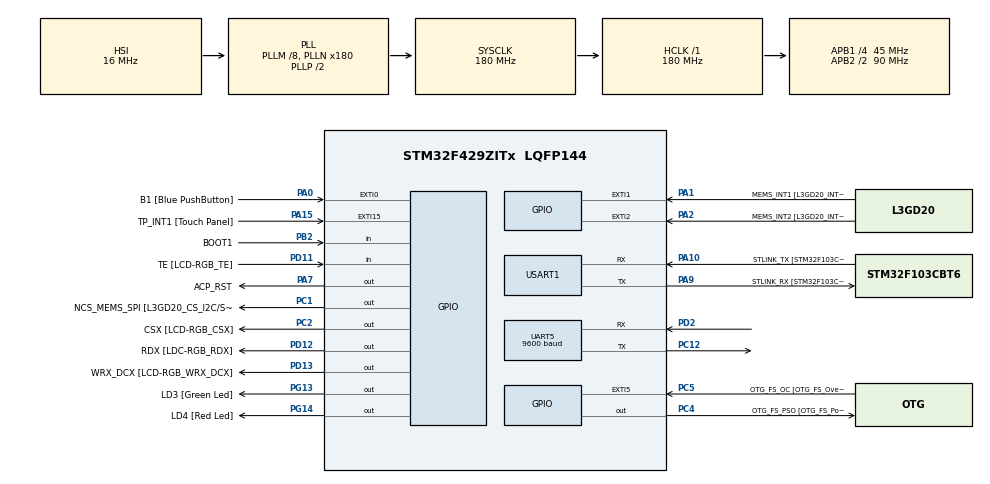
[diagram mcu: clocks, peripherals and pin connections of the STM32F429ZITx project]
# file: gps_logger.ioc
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Dma.Request0=UART5_RX
Dma.UART5_RX.0.Direction=DMA_PERIPH_TO_MEMORY
Dma.UART5_RX.0.FIFOMode=DMA_FIFOMODE_DISABLE
Dma.UART5_RX.0.Instance=DMA1_Stream0
Dma.UART5_RX.0.MemDataAlignment=DMA_MDATAALIGN_BYTE
Dma.UART5_RX.0.MemInc=DMA_MINC_ENABLE
Dma.UART5_RX.0.Mode=DMA_CIRCULAR
Dma.UART5_RX.0.PeriphDataAlignment=DMA_PDATAALIGN_BYTE
Dma.UART5_RX.0.PeriphInc=DMA_PINC_DISABLE
Dma.UART5_RX.0.Priority=DMA_PRIORITY_LOW
FREERTOS.BinarySemaphores01=gpsSemaphore,Dynamic,NULL,Depleted
FREERTOS.Queues01=gpsQueue,5,28,1,Dynamic,NULL,NULL
FREERTOS.Tasks01=gpsTask,24,256,StartGpsTask,Default,NULL,Dynamic,NULL,NULL;loggerTask,24,256,StartLoggerTask,Default,NULL,Dynamic,NULL,NULL;lcdTask,24,256,StartLcdTask,Default,NULL,Dynamic,NULL,NULL
FREERTOS.configUSE_NEWLIB_REENTRANT=1
Mcu.Family=STM32F4
Mcu.Name=STM32F429ZITx
Mcu.Package=LQFP144
NVIC.DMA1_Stream0_IRQn=true\:5\:0\:false\:false\:true\:true\:false\:true\:true
NVIC.PriorityGroup=NVIC_PRIORITYGROUP_4
NVIC.TIM1_UP_TIM10_IRQn=true\:15\:0\:false\:false\:true\:false\:false\:true\:true
NVIC.TimeBase=TIM1_UP_TIM10_IRQn
NVIC.TimeBaseIP=TIM1
NVIC.UART5_IRQn=true\:5\:0\:false\:false\:true\:true\:true\:true\:true
PA0/WKUP.GPIO_Label=B1 [Blue PushButton]
PA0/WKUP.GPIO_ModeDefaultEXTI=GPIO_MODE_EVT_RISING
PA0/WKUP.GPIO_PuPd=GPIO_NOPULL
PA0/WKUP.Signal=GPXTI0
PA1.GPIO_Label=MEMS_INT1 [L3GD20_INT1]
PA1.GPIO_ModeDefaultEXTI=GPIO_MODE_EVT_RISING
PA1.GPIO_PuPd=GPIO_NOPULL
PA1.Signal=GPXTI1
PA10.GPIO_Label=STLINK_TX [STM32F103CBT6_PA2]
PA10.Mode=Asynchronous
PA10.Signal=USART1_RX
PA11.GPIO_Label=R4
PA11.GPIO_Mode=GPIO_MODE_AF_PP
PA11.GPIO_PuPd=GPIO_NOPULL
PA11.GPIO_Speed=GPIO_SPEED_FREQ_LOW
PA11.Signal=LTDC_R4
PA12.GPIO_Label=R5
PA12.GPIO_Mode=GPIO_MODE_AF_PP
PA12.GPIO_PuPd=GPIO_NOPULL
PA12.GPIO_Speed=GPIO_SPEED_FREQ_LOW
PA12.Signal=LTDC_R5
PA13.GPIO_Label=SWDIO
PA13.Signal=SYS_JTMS-SWDIO
PA14.GPIO_Label=SWCLK
PA14.Signal=SYS_JTCK-SWCLK
PA15.GPIO_Label=TP_INT1 [Touch Panel]
PA15.GPIO_ModeDefaultEXTI=GPIO_MODE_EVT_RISING
PA15.GPIO_PuPd=GPIO_NOPULL
PA15.Signal=GPXTI15
PA2.GPIO_Label=MEMS_INT2 [L3GD20_INT2]
PA2.GPIO_ModeDefaultEXTI=GPIO_MODE_EVT_RISING
PA2.GPIO_PuPd=GPIO_NOPULL
PA2.Signal=GPXTI2
PA3.GPIO_Label=B5
PA3.GPIO_Mode=GPIO_MODE_AF_PP
PA3.GPIO_PuPd=GPIO_NOPULL
PA3.GPIO_Speed=GPIO_SPEED_FREQ_LOW
PA3.Signal=LTDC_B5
PA4.GPIO_Label=VSYNC
PA4.GPIO_Mode=GPIO_MODE_AF_PP
PA4.GPIO_PuPd=GPIO_NOPULL
PA4.GPIO_Speed=GPIO_SPEED_FREQ_LOW
PA4.Signal=LTDC_VSYNC
PA6.GPIO_Label=G2
PA6.GPIO_Mode=GPIO_MODE_AF_PP
PA6.GPIO_PuPd=GPIO_NOPULL
PA6.GPIO_Speed=GPIO_SPEED_FREQ_LOW
PA6.Signal=LTDC_G2
PA7.GPIO_Label=ACP_RST
PA7.GPIO_Mode=GPIO_MODE_OUTPUT_PP
PA7.GPIO_PuPd=GPIO_NOPULL
PA7.GPIO_Speed=GPIO_SPEED_FREQ_LOW
PA7.Signal=GPIO_Output
PA8.GPIO_Label=I2C3_SCL [ACP/RF_SCL]
PA8.GPIO_Mode=GPIO_MODE_AF_OD
PA8.GPIO_PuPd=GPIO_NOPULL
PA8.GPIO_Speed=GPIO_SPEED_FREQ_LOW
PA8.Signal=I2C3_SCL
PA9.GPIO_Label=STLINK_RX [STM32F103CBT6_PA3]
PA9.Mode=Asynchronous
PA9.Signal=USART1_TX
PB0.GPIO_Label=R3
PB0.GPIO_Mode=GPIO_MODE_AF_PP
PB0.GPIO_PuPd=GPIO_NOPULL
PB0.GPIO_Speed=GPIO_SPEED_FREQ_LOW
PB0.Signal=LTDC_R3
PB1.GPIO_Label=R6
PB1.GPIO_Mode=GPIO_MODE_AF_PP
PB1.GPIO_PuPd=GPIO_NOPULL
PB1.GPIO_Speed=GPIO_SPEED_FREQ_LOW
PB1.Signal=LTDC_R6
PB10.GPIO_Label=G4
PB10.GPIO_Mode=GPIO_MODE_AF_PP
PB10.GPIO_PuPd=GPIO_NOPULL
PB10.GPIO_Speed=GPIO_SPEED_FREQ_LOW
PB10.Signal=LTDC_G4
PB11.GPIO_Label=G5
PB11.GPIO_Mode=GPIO_MODE_AF_PP
PB11.GPIO_PuPd=GPIO_NOPULL
PB11.GPIO_Speed=GPIO_SPEED_FREQ_LOW
PB11.Signal=LTDC_G5
PB12.GPIO_Label=OTG_HS_ID
PB12.GPIO_Mode=GPIO_MODE_AF_PP
PB12.GPIO_PuPd=GPIO_NOPULL
PB12.GPIO_Speed=GPIO_SPEED_FREQ_LOW
PB12.Signal=USB_OTG_HS_ID
PB13.GPIO_Label=VBUS_HS
PB13.GPIO_Mode=GPIO_MODE_INPUT
PB13.GPIO_PuPd=GPIO_NOPULL
PB13.Signal=USB_OTG_HS_VBUS
PB14.GPIO_Label=OTG_HS_DM
PB14.GPIO_Mode=GPIO_MODE_AF_PP
PB14.GPIO_PuPd=GPIO_NOPULL
PB14.GPIO_Speed=GPIO_SPEED_FREQ_LOW
PB14.Signal=USB_OTG_HS_DM
PB15.GPIO_Label=OTG_HS_DP
PB15.GPIO_Mode=GPIO_MODE_AF_PP
PB15.GPIO_PuPd=GPIO_NOPULL
PB15.GPIO_Speed=GPIO_SPEED_FREQ_LOW
PB15.Signal=USB_OTG_HS_DP
PB2/BOOT1.GPIO_Label=BOOT1
PB2/BOOT1.GPIO_Mode=GPIO_MODE_INPUT
PB2/BOOT1.GPIO_PuPd=GPIO_NOPULL
PB2/BOOT1.Signal=GPIO_Input
PB5.GPIO_Label=SDCKE1
PB5.GPIO_Mode=GPIO_MODE_AF_PP
PB5.GPIO_PuPd=GPIO_NOPULL
PB5.GPIO_Speed=GPIO_SPEED_FREQ_VERY_HIGH
PB5.Signal=FMC_SDCKE1
PB6.GPIO_Label=SDNE1 [SDRAM_CS]
PB6.GPIO_Mode=GPIO_MODE_AF_PP
PB6.GPIO_PuPd=GPIO_NOPULL
PB6.GPIO_Speed=GPIO_SPEED_FREQ_VERY_HIGH
PB6.Signal=FMC_SDNE1
PB8.GPIO_Label=B6
PB8.GPIO_Mode=GPIO_MODE_AF_PP
PB8.GPIO_PuPd=GPIO_NOPULL
PB8.GPIO_Speed=GPIO_SPEED_FREQ_LOW
PB8.Signal=LTDC_B6
PB9.GPIO_Label=B7
PB9.GPIO_Mode=GPIO_MODE_AF_PP
PB9.GPIO_PuPd=GPIO_NOPULL
PB9.GPIO_Speed=GPIO_SPEED_FREQ_LOW
PB9.Signal=LTDC_B7
PC0.GPIO_Label=SDNWE
PC0.GPIO_Mode=GPIO_MODE_AF_PP
PC0.GPIO_PuPd=GPIO_NOPULL
PC0.GPIO_Speed=GPIO_SPEED_FREQ_VERY_HIGH
PC0.Signal=FMC_SDNWE
PC1.GPIO_Label=NCS_MEMS_SPI [L3GD20_CS_I2C/SPI]
PC1.GPIO_Mode=GPIO_MODE_OUTPUT_PP
PC1.GPIO_PuPd=GPIO_NOPULL
PC1.GPIO_Speed=GPIO_SPEED_FREQ_LOW
PC1.Signal=GPIO_Output
PC10.GPIO_Label=R2
PC10.GPIO_Mode=GPIO_MODE_AF_PP
PC10.GPIO_PuPd=GPIO_NOPULL
PC10.GPIO_Speed=GPIO_SPEED_FREQ_LOW
PC10.Signal=LTDC_R2
PC12.Mode=Asynchronous
PC12.Signal=UART5_TX
PC14/OSC32_IN.GPIO_Label=PC14-OSC32_IN
PC14/OSC32_IN.Signal=RCC_OSC32_IN
PC15/OSC32_OUT.GPIO_Label=PC15-OSC32_OUT
PC15/OSC32_OUT.Signal=RCC_OSC32_OUT
PC2.GPIO_Label=CSX [LCD-RGB_CSX]
PC2.GPIO_Mode=GPIO_MODE_OUTPUT_PP
PC2.GPIO_PuPd=GPIO_NOPULL
PC2.GPIO_Speed=GPIO_SPEED_FREQ_LOW
PC2.Signal=GPIO_Output
PC4.GPIO_Label=OTG_FS_PSO [OTG_FS_PowerSwitchOn]
PC4.GPIO_Mode=GPIO_MODE_OUTPUT_PP
PC4.GPIO_PuPd=GPIO_NOPULL
PC4.GPIO_Speed=GPIO_SPEED_FREQ_LOW
PC4.Signal=GPIO_Output
PC5.GPIO_Label=OTG_FS_OC [OTG_FS_OverCurrent]
PC5.GPIO_ModeDefaultEXTI=GPIO_MODE_EVT_RISING
PC5.Signal=GPXTI5
PC6.GPIO_Label=HSYNC
PC6.GPIO_Mode=GPIO_MODE_AF_PP
PC6.GPIO_PuPd=GPIO_NOPULL
PC6.GPIO_Speed=GPIO_SPEED_FREQ_LOW
PC6.Signal=LTDC_HSYNC
PC7.GPIO_Label=G6
PC7.GPIO_Mode=GPIO_MODE_AF_PP
PC7.GPIO_PuPd=GPIO_NOPULL
PC7.GPIO_Speed=GPIO_SPEED_FREQ_LOW
PC7.Signal=LTDC_G6
PC9.GPIO_Label=I2C3_SDA [ACP/RF_SDA]
PC9.GPIO_Mode=GPIO_MODE_AF_OD
PC9.GPIO_PuPd=GPIO_NOPULL
PC9.GPIO_Speed=GPIO_SPEED_FREQ_LOW
PC9.Signal=I2C3_SDA
PD0.GPIO_Label=D2
PD0.GPIO_Mode=GPIO_MODE_AF_PP
PD0.GPIO_PuPd=GPIO_NOPULL
PD0.GPIO_Speed=GPIO_SPEED_FREQ_VERY_HIGH
PD0.Signal=FMC_D2_DA2
PD1.GPIO_Label=D3
PD1.GPIO_Mode=GPIO_MODE_AF_PP
PD1.GPIO_PuPd=GPIO_NOPULL
PD1.GPIO_Speed=GPIO_SPEED_FREQ_VERY_HIGH
PD1.Signal=FMC_D3_DA3
PD10.GPIO_Label=D15
PD10.GPIO_Mode=GPIO_MODE_AF_PP
PD10.GPIO_PuPd=GPIO_NOPULL
PD10.GPIO_Speed=GPIO_SPEED_FREQ_VERY_HIGH
PD10.Signal=FMC_D15_DA15
PD11.GPIO_Label=TE [LCD-RGB_TE]
PD11.GPIO_Mode=GPIO_MODE_INPUT
PD11.GPIO_PuPd=GPIO_NOPULL
PD11.Signal=GPIO_Input
PD12.GPIO_Label=RDX [LDC-RGB_RDX]
PD12.GPIO_Mode=GPIO_MODE_OUTPUT_PP
PD12.GPIO_PuPd=GPIO_NOPULL
PD12.GPIO_Speed=GPIO_SPEED_FREQ_LOW
PD12.Signal=GPIO_Output
PD13.GPIO_Label=WRX_DCX [LCD-RGB_WRX_DCX]
PD13.GPIO_Mode=GPIO_MODE_OUTPUT_PP
PD13.GPIO_PuPd=GPIO_NOPULL
PD13.GPIO_Speed=GPIO_SPEED_FREQ_LOW
PD13.Signal=GPIO_Output
PD14.GPIO_Label=D0
PD14.GPIO_Mode=GPIO_MODE_AF_PP
PD14.GPIO_PuPd=GPIO_NOPULL
PD14.GPIO_Speed=GPIO_SPEED_FREQ_VERY_HIGH
PD14.Signal=FMC_D0_DA0
PD15.GPIO_Label=D1
PD15.GPIO_Mode=GPIO_MODE_AF_PP
PD15.GPIO_PuPd=GPIO_NOPULL
PD15.GPIO_Speed=GPIO_SPEED_FREQ_VERY_HIGH
PD15.Signal=FMC_D1_DA1
PD2.Mode=Asynchronous
PD2.Signal=UART5_RX
PD3.GPIO_Label=G7
PD3.GPIO_Mode=GPIO_MODE_AF_PP
PD3.GPIO_PuPd=GPIO_NOPULL
PD3.GPIO_Speed=GPIO_SPEED_FREQ_LOW
PD3.Signal=LTDC_G7
PD6.GPIO_Label=B2
PD6.GPIO_Mode=GPIO_MODE_AF_PP
PD6.GPIO_PuPd=GPIO_NOPULL
PD6.GPIO_Speed=GPIO_SPEED_FREQ_LOW
PD6.Signal=LTDC_B2
PD8.GPIO_Label=D13
PD8.GPIO_Mode=GPIO_MODE_AF_PP
PD8.GPIO_PuPd=GPIO_NOPULL
PD8.GPIO_Speed=GPIO_SPEED_FREQ_VERY_HIGH
PD8.Signal=FMC_D13_DA13
PD9.GPIO_Label=D14
PD9.GPIO_Mode=GPIO_MODE_AF_PP
PD9.GPIO_PuPd=GPIO_NOPULL
PD9.GPIO_Speed=GPIO_SPEED_FREQ_VERY_HIGH
PD9.Signal=FMC_D14_DA14
PE0.GPIO_Label=NBL0 [SDRAM_LDQM]
PE0.GPIO_Mode=GPIO_MODE_AF_PP
PE0.GPIO_PuPd=GPIO_NOPULL
PE0.GPIO_Speed=GPIO_SPEED_FREQ_VERY_HIGH
PE0.Signal=FMC_NBL0
PE1.GPIO_Label=NBL1 [SDRAM_UDQM]
PE1.GPIO_Mode=GPIO_MODE_AF_PP
PE1.GPIO_PuPd=GPIO_NOPULL
PE1.GPIO_Speed=GPIO_SPEED_FREQ_VERY_HIGH
PE1.Signal=FMC_NBL1
PE10.GPIO_Label=D7
PE10.GPIO_Mode=GPIO_MODE_AF_PP
PE10.GPIO_PuPd=GPIO_NOPULL
PE10.GPIO_Speed=GPIO_SPEED_FREQ_VERY_HIGH
PE10.Signal=FMC_D7_DA7
PE11.GPIO_Label=D8
PE11.GPIO_Mode=GPIO_MODE_AF_PP
PE11.GPIO_PuPd=GPIO_NOPULL
PE11.GPIO_Speed=GPIO_SPEED_FREQ_VERY_HIGH
PE11.Signal=FMC_D8_DA8
PE12.GPIO_Label=D9
PE12.GPIO_Mode=GPIO_MODE_AF_PP
PE12.GPIO_PuPd=GPIO_NOPULL
PE12.GPIO_Speed=GPIO_SPEED_FREQ_VERY_HIGH
PE12.Signal=FMC_D9_DA9
PE13.GPIO_Label=D10
PE13.GPIO_Mode=GPIO_MODE_AF_PP
PE13.GPIO_PuPd=GPIO_NOPULL
PE13.GPIO_Speed=GPIO_SPEED_FREQ_VERY_HIGH
PE13.Signal=FMC_D10_DA10
PE14.GPIO_Label=D11
PE14.GPIO_Mode=GPIO_MODE_AF_PP
PE14.GPIO_PuPd=GPIO_NOPULL
PE14.GPIO_Speed=GPIO_SPEED_FREQ_VERY_HIGH
PE14.Signal=FMC_D11_DA11
PE15.GPIO_Label=D12
PE15.GPIO_Mode=GPIO_MODE_AF_PP
PE15.GPIO_PuPd=GPIO_NOPULL
PE15.GPIO_Speed=GPIO_SPEED_FREQ_VERY_HIGH
PE15.Signal=FMC_D12_DA12
PE7.GPIO_Label=D4
PE7.GPIO_Mode=GPIO_MODE_AF_PP
PE7.GPIO_PuPd=GPIO_NOPULL
PE7.GPIO_Speed=GPIO_SPEED_FREQ_VERY_HIGH
PE7.Signal=FMC_D4_DA4
PE8.GPIO_Label=D5
PE8.GPIO_Mode=GPIO_MODE_AF_PP
PE8.GPIO_PuPd=GPIO_NOPULL
PE8.GPIO_Speed=GPIO_SPEED_FREQ_VERY_HIGH
PE8.Signal=FMC_D5_DA5
PE9.GPIO_Label=D6
PE9.GPIO_Mode=GPIO_MODE_AF_PP
PE9.GPIO_PuPd=GPIO_NOPULL
PE9.GPIO_Speed=GPIO_SPEED_FREQ_VERY_HIGH
PE9.Signal=FMC_D6_DA6
PF0.GPIO_Label=A0
PF0.GPIO_Mode=GPIO_MODE_AF_PP
PF0.GPIO_PuPd=GPIO_NOPULL
PF0.GPIO_Speed=GPIO_SPEED_FREQ_VERY_HIGH
PF0.Signal=FMC_A0
PF1.GPIO_Label=A1
PF1.GPIO_Mode=GPIO_MODE_AF_PP
PF1.GPIO_PuPd=GPIO_NOPULL
PF1.GPIO_Speed=GPIO_SPEED_FREQ_VERY_HIGH
PF1.Signal=FMC_A1
PF10.GPIO_Label=ENABLE [LCD-RGB_ENABLE]
PF10.GPIO_Mode=GPIO_MODE_AF_PP
PF10.GPIO_PuPd=GPIO_NOPULL
PF10.GPIO_Speed=GPIO_SPEED_FREQ_LOW
PF10.Signal=LTDC_DE
PF11.GPIO_Label=SDNRAS
PF11.GPIO_Mode=GPIO_MODE_AF_PP
PF11.GPIO_PuPd=GPIO_NOPULL
PF11.GPIO_Speed=GPIO_SPEED_FREQ_VERY_HIGH
PF11.Signal=FMC_SDNRAS
PF12.GPIO_Label=A6
PF12.GPIO_Mode=GPIO_MODE_AF_PP
PF12.GPIO_PuPd=GPIO_NOPULL
PF12.GPIO_Speed=GPIO_SPEED_FREQ_VERY_HIGH
PF12.Signal=FMC_A6
PF13.GPIO_Label=A7
PF13.GPIO_Mode=GPIO_MODE_AF_PP
PF13.GPIO_PuPd=GPIO_NOPULL
PF13.GPIO_Speed=GPIO_SPEED_FREQ_VERY_HIGH
PF13.Signal=FMC_A7
PF14.GPIO_Label=A8
PF14.GPIO_Mode=GPIO_MODE_AF_PP
PF14.GPIO_PuPd=GPIO_NOPULL
PF14.GPIO_Speed=GPIO_SPEED_FREQ_VERY_HIGH
PF14.Signal=FMC_A8
PF15.GPIO_Label=A9
PF15.GPIO_Mode=GPIO_MODE_AF_PP
PF15.GPIO_PuPd=GPIO_NOPULL
PF15.GPIO_Speed=GPIO_SPEED_FREQ_VERY_HIGH
PF15.Signal=FMC_A9
PF2.GPIO_Label=A2
PF2.GPIO_Mode=GPIO_MODE_AF_PP
PF2.GPIO_PuPd=GPIO_NOPULL
PF2.GPIO_Speed=GPIO_SPEED_FREQ_VERY_HIGH
PF2.Signal=FMC_A2
PF3.GPIO_Label=A3
PF3.GPIO_Mode=GPIO_MODE_AF_PP
PF3.GPIO_PuPd=GPIO_NOPULL
PF3.GPIO_Speed=GPIO_SPEED_FREQ_VERY_HIGH
PF3.Signal=FMC_A3
PF4.GPIO_Label=A4
PF4.GPIO_Mode=GPIO_MODE_AF_PP
PF4.GPIO_PuPd=GPIO_NOPULL
PF4.GPIO_Speed=GPIO_SPEED_FREQ_VERY_HIGH
PF4.Signal=FMC_A4
PF5.GPIO_Label=A5
PF5.GPIO_Mode=GPIO_MODE_AF_PP
PF5.GPIO_PuPd=GPIO_NOPULL
PF5.GPIO_Speed=GPIO_SPEED_FREQ_VERY_HIGH
PF5.Signal=FMC_A5
PF7.GPIO_Label=SPI5_SCK [L3GD20_SCL/SPC]
PF7.GPIO_Mode=GPIO_MODE_AF_PP
PF7.GPIO_PuPd=GPIO_NOPULL
PF7.GPIO_Speed=GPIO_SPEED_FREQ_LOW
PF7.Signal=SPI5_SCK
PF8.GPIO_Label=SPI5_MISO [L3GD20_SDO]
PF8.GPIO_Mode=GPIO_MODE_AF_PP
PF8.GPIO_PuPd=GPIO_NOPULL
PF8.GPIO_Speed=GPIO_SPEED_FREQ_LOW
PF8.Signal=SPI5_MISO
PF9.GPIO_Label=SPI5_MOSI [L3GD20_SDA/SDI/SDO]
PF9.GPIO_Mode=GPIO_MODE_AF_PP
PF9.GPIO_PuPd=GPIO_NOPULL
PF9.GPIO_Speed=GPIO_SPEED_FREQ_LOW
PF9.Signal=SPI5_MOSI
PG0.GPIO_Label=A10
PG0.GPIO_Mode=GPIO_MODE_AF_PP
PG0.GPIO_PuPd=GPIO_NOPULL
PG0.GPIO_Speed=GPIO_SPEED_FREQ_VERY_HIGH
PG0.Signal=FMC_A10
PG1.GPIO_Label=A11
PG1.GPIO_Mode=GPIO_MODE_AF_PP
PG1.GPIO_PuPd=GPIO_NOPULL
PG1.GPIO_Speed=GPIO_SPEED_FREQ_VERY_HIGH
PG1.Signal=FMC_A11
PG10.GPIO_Label=G3
PG10.GPIO_Mode=GPIO_MODE_AF_PP
PG10.GPIO_PuPd=GPIO_NOPULL
PG10.GPIO_Speed=GPIO_SPEED_FREQ_LOW
PG10.Signal=LTDC_G3
PG11.GPIO_Label=B3
PG11.GPIO_Mode=GPIO_MODE_AF_PP
PG11.GPIO_PuPd=GPIO_NOPULL
PG11.GPIO_Speed=GPIO_SPEED_FREQ_LOW
PG11.Signal=LTDC_B3
PG12.GPIO_Label=B4
PG12.GPIO_Mode=GPIO_MODE_AF_PP
PG12.GPIO_PuPd=GPIO_NOPULL
PG12.GPIO_Speed=GPIO_SPEED_FREQ_LOW
PG12.Signal=LTDC_B4
PG13.GPIO_Label=LD3 [Green Led]
PG13.GPIO_Mode=GPIO_MODE_OUTPUT_PP
PG13.GPIO_PuPd=GPIO_NOPULL
PG13.GPIO_Speed=GPIO_SPEED_FREQ_LOW
PG13.Signal=GPIO_Output
PG14.GPIO_Label=LD4 [Red Led]
PG14.GPIO_Mode=GPIO_MODE_OUTPUT_PP
PG14.GPIO_PuPd=GPIO_NOPULL
PG14.GPIO_Speed=GPIO_SPEED_FREQ_LOW
PG14.Signal=GPIO_Output
PG15.GPIO_Label=SDNCAS
PG15.GPIO_Mode=GPIO_MODE_AF_PP
PG15.GPIO_PuPd=GPIO_NOPULL
PG15.GPIO_Speed=GPIO_SPEED_FREQ_VERY_HIGH
PG15.Signal=FMC_SDNCAS
PG4.GPIO_Label=BA0
PG4.GPIO_Mode=GPIO_MODE_AF_PP
PG4.GPIO_PuPd=GPIO_NOPULL
PG4.GPIO_Speed=GPIO_SPEED_FREQ_VERY_HIGH
PG4.Signal=FMC_A14_BA0
PG5.GPIO_Label=BA1
PG5.GPIO_Mode=GPIO_MODE_AF_PP
PG5.GPIO_PuPd=GPIO_NOPULL
PG5.GPIO_Speed=GPIO_SPEED_FREQ_VERY_HIGH
PG5.Signal=FMC_A15_BA1
PG6.GPIO_Label=R7
PG6.GPIO_Mode=GPIO_MODE_AF_PP
PG6.GPIO_PuPd=GPIO_NOPULL
PG6.GPIO_Speed=GPIO_SPEED_FREQ_LOW
PG6.Signal=LTDC_R7
PG7.GPIO_Label=DOTCLK [LCT-RGB_DOTCLK]
PG7.GPIO_Mode=GPIO_MODE_AF_PP
PG7.GPIO_PuPd=GPIO_NOPULL
PG7.GPIO_Speed=GPIO_SPEED_FREQ_LOW
PG7.Signal=LTDC_CLK
PG8.GPIO_Label=SDCLK
PG8.GPIO_Mode=GPIO_MODE_AF_PP
PG8.GPIO_PuPd=GPIO_NOPULL
PG8.GPIO_Speed=GPIO_SPEED_FREQ_VERY_HIGH
PG8.Signal=FMC_SDCLK
PH0/OSC_IN.GPIO_Label=PH0-OSC_IN
PH0/OSC_IN.Signal=RCC_OSC_IN
PH1/OSC_OUT.GPIO_Label=PH1-OSC_OUT
PH1/OSC_OUT.Signal=RCC_OSC_OUT
ProjectManager.HeapSize=0x200
ProjectManager.StackSize=0x400
ProjectManager.TargetToolchain=STM32CubeIDE
RCC.48MHZClocksFreq_Value=51428571.428571425
RCC.AHBFreq_Value=180000000
RCC.APB1CLKDivider=RCC_HCLK_DIV4
RCC.APB1Freq_Value=45000000
RCC.APB1TimFreq_Value=90000000
RCC.APB2CLKDivider=RCC_HCLK_DIV2
RCC.APB2Freq_Value=90000000
RCC.APB2TimFreq_Value=180000000
RCC.CortexFreq_Value=180000000
RCC.HCLKFreq_Value=180000000
RCC.HSE_VALUE=8000000
RCC.HSI_VALUE=16000000
RCC.LSE_VALUE=32768
RCC.PLLM=8
RCC.PLLN=180
RCC.PLLQ=7
RCC.SYSCLKFreq_VALUE=180000000
RCC.SYSCLKSource=RCC_SYSCLKSOURCE_PLLCLK
RCC.VCOOutputFreq_Value=360000000
SH.FMC_A0.0=FMC_A0
SH.FMC_A1.0=FMC_A1
SH.FMC_A10.0=FMC_A10
SH.FMC_A11.0=FMC_A11
SH.FMC_A14_BA0.0=FMC_BA0
SH.FMC_A15_BA1.0=FMC_BA1
SH.FMC_A2.0=FMC_A2
SH.FMC_A3.0=FMC_A3
SH.FMC_A4.0=FMC_A4
SH.FMC_A5.0=FMC_A5
SH.FMC_A6.0=FMC_A6
SH.FMC_A7.0=FMC_A7
SH.FMC_A8.0=FMC_A8
SH.FMC_A9.0=FMC_A9
SH.FMC_D0_DA0.0=FMC_D0
SH.FMC_D10_DA10.0=FMC_D10
SH.FMC_D11_DA11.0=FMC_D11
SH.FMC_D12_DA12.0=FMC_D12
SH.FMC_D13_DA13.0=FMC_D13
SH.FMC_D14_DA14.0=FMC_D14
SH.FMC_D15_DA15.0=FMC_D15
SH.FMC_D1_DA1.0=FMC_D1
SH.FMC_D2_DA2.0=FMC_D2
SH.FMC_D3_DA3.0=FMC_D3
SH.FMC_D4_DA4.0=FMC_D4
SH.FMC_D5_DA5.0=FMC_D5
SH.FMC_D6_DA6.0=FMC_D6
SH.FMC_D7_DA7.0=FMC_D7
SH.FMC_D8_DA8.0=FMC_D8
SH.FMC_D9_DA9.0=FMC_D9
SH.FMC_NBL0.0=FMC_NBL0
SH.FMC_NBL1.0=FMC_NBL1
SH.FMC_SDCLK.0=FMC_SDCLK
SH.FMC_SDNCAS.0=FMC_SDNCAS
SH.FMC_SDNRAS.0=FMC_SDNRAS
SH.FMC_SDNWE.0=FMC_SDNWE
UART5.BaudRate=9600
UART5.VirtualMode=Asynchronous
USART1.VirtualMode=VM_ASYNC
VP_FREERTOS_VS_CMSIS_V2.Mode=CMSIS_V2
VP_SYS_VS_tim1.Mode=TIM1
board=STM32F429I-DISC1

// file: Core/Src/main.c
/* USER CODE BEGIN Header */
/**
  ******************************************************************************
  * @file           : main.c
  * @brief          : Main program body
  ******************************************************************************
  * @attention
  *
  * Copyright (c) 2026 STMicroelectronics.
  * All rights reserved.
  *
  * This software is licensed under terms that can be found in the LICENSE file
  * in the root directory of this software component.
  * If no LICENSE file comes with this software, it is provided AS-IS.
  *
  ******************************************************************************
  */
/* USER CODE END Header */
#include "main.h"
#include "cmsis_os.h"
#include "nmea_parser.h"

/* USER CODE BEGIN Includes */
#include <string.h>
#include <stdio.h>
/* USER CODE END Includes */

/* USER CODE BEGIN PD */
#define DMA_BUF_SIZE 512
#define PROC_BUF_SIZE 512
/* USER CODE END PD */

UART_HandleTypeDef huart5;
UART_HandleTypeDef huart1;
DMA_HandleTypeDef hdma_uart5_rx;

/* Definitions for gpsTask */
osThreadId_t gpsTaskHandle;
const osThreadAttr_t gpsTask_attributes = {
  .name = "gpsTask",
  .stack_size = 256 * 4,
  .priority = (osPriority_t) osPriorityNormal,
};
/* Definitions for loggerTask */
osThreadId_t loggerTaskHandle;
const osThreadAttr_t loggerTask_attributes = {
  .name = "loggerTask",
  .stack_size = 256 * 4,
  .priority = (osPriority_t) osPriorityNormal,
};
/* Definitions for lcdTask */
osThreadId_t lcdTaskHandle;
const osThreadAttr_t lcdTask_attributes = {
  .name = "lcdTask",
  .stack_size = 256 * 4,
  .priority = (osPriority_t) osPriorityNormal,
};
/* Definitions for gpsQueue */
osMessageQueueId_t gpsQueueHandle;
const osMessageQueueAttr_t gpsQueue_attributes = {
  .name = "gpsQueue"
};
/* Definitions for gpsSemaphore */
osSemaphoreId_t gpsSemaphoreHandle;
const osSemaphoreAttr_t gpsSemaphore_attributes = {
  .name = "gpsSemaphore"
};
/* USER CODE BEGIN PV */
uint8_t dma_buf[DMA_BUF_SIZE];
uint8_t proc_buf[PROC_BUF_SIZE + 1];

volatile uint16_t proc_len = 0;
volatile uint8_t sentence_ready = 0;
/* USER CODE END PV */

void SystemClock_Config(void);
static void MX_GPIO_Init(void);
static void MX_DMA_Init(void);
static void MX_UART5_Init(void);
static void MX_USART1_UART_Init(void);
void StartGpsTask(void *argument);
void StartLoggerTask(void *argument);
void StartLcdTask(void *argument);

/* USER CODE BEGIN 0 */
int _write(int file, char *ptr, int len)
{
	HAL_UART_Transmit(&huart1, (uint8_t*)ptr, len, HAL_MAX_DELAY);
	//HAL_UART_Transmit_IT(&huart1, (uint8_t*)ptr, len);
	return len;
}
/* USER CODE END 0 */

int main(void)
{

  /* MCU Configuration--------------------------------------------------------*/

  /* Reset of all peripherals, Initializes the Flash interface and the Systick. */
  HAL_Init();

  /* Configure the system clock */
  SystemClock_Config();

  /* Initialize all configured peripherals */
  MX_GPIO_Init();
  MX_DMA_Init();
  MX_UART5_Init();
  MX_USART1_UART_Init();
  /* USER CODE BEGIN 2 */
  HAL_UARTEx_ReceiveToIdle_DMA(&huart5, dma_buf, DMA_BUF_SIZE);		// Setting up transfer of UART5 RX data via DMA
  __HAL_DMA_DISABLE_IT(huart5.hdmarx, DMA_IT_HT);					// Disable half-transfer interrupt to ensure single callback at the end
  /* USER CODE END 2 */

  /* Init scheduler */
  osKernelInitialize();

  /* Create the semaphores(s) */
  /* creation of gpsSemaphore */
  gpsSemaphoreHandle = osSemaphoreNew(1, 0, &gpsSemaphore_attributes);

  /* Create the queue(s) */
  /* creation of gpsQueue */
  gpsQueueHandle = osMessageQueueNew (5, 28, &gpsQueue_attributes);

  /* Create the thread(s) */
  /* creation of gpsTask */
  gpsTaskHandle = osThreadNew(StartGpsTask, NULL, &gpsTask_attributes);

  /* creation of loggerTask */
  loggerTaskHandle = osThreadNew(StartLoggerTask, NULL, &loggerTask_attributes);

  /* creation of lcdTask */
  lcdTaskHandle = osThreadNew(StartLcdTask, NULL, &lcdTask_attributes);

  /* Start scheduler */
  osKernelStart();

  /* We should never get here as control is now taken by the scheduler */

  /* Infinite loop */
  /* USER CODE BEGIN WHILE */
  while (1)
  {
	  if (sentence_ready)
	  {
		  sentence_ready = 0;	// Clear flag
		  proc_buf[proc_len] = '\0';	// Null-terminate so printf knows where string ends
		  printf("%s", (char*)proc_buf);
	  }
    /* USER CODE END WHILE */

  }
}

void SystemClock_Config(void)
{
  RCC_OscInitTypeDef RCC_OscInitStruct = {0};
  RCC_ClkInitTypeDef RCC_ClkInitStruct = {0};

  /** Configure the main internal regulator output voltage
  */
  __HAL_RCC_PWR_CLK_ENABLE();
  __HAL_PWR_VOLTAGESCALING_CONFIG(PWR_REGULATOR_VOLTAGE_SCALE1);

  /** Initializes the RCC Oscillators according to the specified parameters
  * in the RCC_OscInitTypeDef structure.
  */
  RCC_OscInitStruct.OscillatorType = RCC_OSCILLATORTYPE_HSI;
  RCC_OscInitStruct.HSIState = RCC_HSI_ON;
  RCC_OscInitStruct.HSICalibrationValue = RCC_HSICALIBRATION_DEFAULT;
  RCC_OscInitStruct.PLL.PLLState = RCC_PLL_ON;
  RCC_OscInitStruct.PLL.PLLSource = RCC_PLLSOURCE_HSI;
  RCC_OscInitStruct.PLL.PLLM = 8;
  RCC_OscInitStruct.PLL.PLLN = 180;
  RCC_OscInitStruct.PLL.PLLP = RCC_PLLP_DIV2;
  RCC_OscInitStruct.PLL.PLLQ = 7;
  if (HAL_RCC_OscConfig(&RCC_OscInitStruct) != HAL_OK)
  {
    Error_Handler();
  }

  /** Activate the Over-Drive mode
  */
  if (HAL_PWREx_EnableOverDrive() != HAL_OK)
  {
    Error_Handler();
  }

  /** Initializes the CPU, AHB and APB buses clocks
  */
  RCC_ClkInitStruct.ClockType = RCC_CLOCKTYPE_HCLK|RCC_CLOCKTYPE_SYSCLK
                              |RCC_CLOCKTYPE_PCLK1|RCC_CLOCKTYPE_PCLK2;
  RCC_ClkInitStruct.SYSCLKSource = RCC_SYSCLKSOURCE_PLLCLK;
  RCC_ClkInitStruct.AHBCLKDivider = RCC_SYSCLK_DIV1;
  RCC_ClkInitStruct.APB1CLKDivider = RCC_HCLK_DIV4;
  RCC_ClkInitStruct.APB2CLKDivider = RCC_HCLK_DIV2;

  if (HAL_RCC_ClockConfig(&RCC_ClkInitStruct, FLASH_LATENCY_5) != HAL_OK)
  {
    Error_Handler();
  }
}

static void MX_UART5_Init(void)
{

  huart5.Instance = UART5;
  huart5.Init.BaudRate = 9600;
  huart5.Init.WordLength = UART_WORDLENGTH_8B;
  huart5.Init.StopBits = UART_STOPBITS_1;
  huart5.Init.Parity = UART_PARITY_NONE;
  huart5.Init.Mode = UART_MODE_TX_RX;
  huart5.Init.HwFlowCtl = UART_HWCONTROL_NONE;
  huart5.Init.OverSampling = UART_OVERSAMPLING_16;
  if (HAL_UART_Init(&huart5) != HAL_OK)
  {
    Error_Handler();
  }

}

static void MX_USART1_UART_Init(void)
{

  huart1.Instance = USART1;
  huart1.Init.BaudRate = 115200;
  huart1.Init.WordLength = UART_WORDLENGTH_8B;
  huart1.Init.StopBits = UART_STOPBITS_1;
  huart1.Init.Parity = UART_PARITY_NONE;
  huart1.Init.Mode = UART_MODE_TX_RX;
  huart1.Init.HwFlowCtl = UART_HWCONTROL_NONE;
  huart1.Init.OverSampling = UART_OVERSAMPLING_16;
  if (HAL_UART_Init(&huart1) != HAL_OK)
  {
    Error_Handler();
  }

}

static void MX_DMA_Init(void)
{

  /* DMA controller clock enable */
  __HAL_RCC_DMA1_CLK_ENABLE();

  /* DMA interrupt init */
  /* DMA1_Stream0_IRQn interrupt configuration */
  HAL_NVIC_SetPriority(DMA1_Stream0_IRQn, 5, 0);
  HAL_NVIC_EnableIRQ(DMA1_Stream0_IRQn);

}

static void MX_GPIO_Init(void)
{
  GPIO_InitTypeDef GPIO_InitStruct = {0};

  /* GPIO Ports Clock Enable */
  __HAL_RCC_GPIOC_CLK_ENABLE();
  __HAL_RCC_GPIOF_CLK_ENABLE();
  __HAL_RCC_GPIOH_CLK_ENABLE();
  __HAL_RCC_GPIOA_CLK_ENABLE();
  __HAL_RCC_GPIOB_CLK_ENABLE();
  __HAL_RCC_GPIOG_CLK_ENABLE();
  __HAL_RCC_GPIOE_CLK_ENABLE();
  __HAL_RCC_GPIOD_CLK_ENABLE();

  /*Configure GPIO pin Output Level */
  HAL_GPIO_WritePin(GPIOC, NCS_MEMS_SPI_Pin|CSX_Pin|OTG_FS_PSO_Pin, GPIO_PIN_RESET);

  /*Configure GPIO pin Output Level */
  HAL_GPIO_WritePin(ACP_RST_GPIO_Port, ACP_RST_Pin, GPIO_PIN_RESET);

  /*Configure GPIO pin Output Level */
  HAL_GPIO_WritePin(GPIOD, RDX_Pin|WRX_DCX_Pin, GPIO_PIN_RESET);

  /*Configure GPIO pin Output Level */
  HAL_GPIO_WritePin(GPIOG, LD3_Pin|LD4_Pin, GPIO_PIN_RESET);

  /*Configure GPIO pins : A0_Pin A1_Pin A2_Pin A3_Pin
                           A4_Pin A5_Pin SDNRAS_Pin A6_Pin
                           A7_Pin A8_Pin A9_Pin */
  GPIO_InitStruct.Pin = A0_Pin|A1_Pin|A2_Pin|A3_Pin
                          |A4_Pin|A5_Pin|SDNRAS_Pin|A6_Pin
                          |A7_Pin|A8_Pin|A9_Pin;
  GPIO_InitStruct.Mode = GPIO_MODE_AF_PP;
  GPIO_InitStruct.Pull = GPIO_NOPULL;
  GPIO_InitStruct.Speed = GPIO_SPEED_FREQ_VERY_HIGH;
  GPIO_InitStruct.Alternate = GPIO_AF12_FMC;
  HAL_GPIO_Init(GPIOF, &GPIO_InitStruct);

  /*Configure GPIO pins : SPI5_SCK_Pin SPI5_MISO_Pin SPI5_MOSI_Pin */
  GPIO_InitStruct.Pin = SPI5_SCK_Pin|SPI5_MISO_Pin|SPI5_MOSI_Pin;
  GPIO_InitStruct.Mode = GPIO_MODE_AF_PP;
  GPIO_InitStruct.Pull = GPIO_NOPULL;
  GPIO_InitStruct.Speed = GPIO_SPEED_FREQ_LOW;
  GPIO_InitStruct.Alternate = GPIO_AF5_SPI5;
  HAL_GPIO_Init(GPIOF, &GPIO_InitStruct);

  /*Configure GPIO pin : ENABLE_Pin */
  GPIO_InitStruct.Pin = ENABLE_Pin;
  GPIO_InitStruct.Mode = GPIO_MODE_AF_PP;
  GPIO_InitStruct.Pull = GPIO_NOPULL;
  GPIO_InitStruct.Speed = GPIO_SPEED_FREQ_LOW;
  GPIO_InitStruct.Alternate = GPIO_AF14_LTDC;
  HAL_GPIO_Init(ENABLE_GPIO_Port, &GPIO_InitStruct);

  /*Configure GPIO pin : SDNWE_Pin */
  GPIO_InitStruct.Pin = SDNWE_Pin;
  GPIO_InitStruct.Mode = GPIO_MODE_AF_PP;
  GPIO_InitStruct.Pull = GPIO_NOPULL;
  GPIO_InitStruct.Speed = GPIO_SPEED_FREQ_VERY_HIGH;
  GPIO_InitStruct.Alternate = GPIO_AF12_FMC;
  HAL_GPIO_Init(SDNWE_GPIO_Port, &GPIO_InitStruct);

  /*Configure GPIO pins : NCS_MEMS_SPI_Pin CSX_Pin OTG_FS_PSO_Pin */
  GPIO_InitStruct.Pin = NCS_MEMS_SPI_Pin|CSX_Pin|OTG_FS_PSO_Pin;
  GPIO_InitStruct.Mode = GPIO_MODE_OUTPUT_PP;
  GPIO_InitStruct.Pull = GPIO_NOPULL;
  GPIO_InitStruct.Speed = GPIO_SPEED_FREQ_LOW;
  HAL_GPIO_Init(GPIOC, &GPIO_InitStruct);

  /*Configure GPIO pins : B1_Pin MEMS_INT1_Pin MEMS_INT2_Pin TP_INT1_Pin */
  GPIO_InitStruct.Pin = B1_Pin|MEMS_INT1_Pin|MEMS_INT2_Pin|TP_INT1_Pin;
  GPIO_InitStruct.Mode = GPIO_MODE_EVT_RISING;
  GPIO_InitStruct.Pull = GPIO_NOPULL;
  HAL_GPIO_Init(GPIOA, &GPIO_InitStruct);

  /*Configure GPIO pins : B5_Pin VSYNC_Pin G2_Pin R4_Pin
                           R5_Pin */
  GPIO_InitStruct.Pin = B5_Pin|VSYNC_Pin|G2_Pin|R4_Pin
                          |R5_Pin;
  GPIO_InitStruct.Mode = GPIO_MODE_AF_PP;
  GPIO_InitStruct.Pull = GPIO_NOPULL;
  GPIO_InitStruct.Speed = GPIO_SPEED_FREQ_LOW;
  GPIO_InitStruct.Alternate = GPIO_AF14_LTDC;
  HAL_GPIO_Init(GPIOA, &GPIO_InitStruct);

  /*Configure GPIO pin : ACP_RST_Pin */
  GPIO_InitStruct.Pin = ACP_RST_Pin;
  GPIO_InitStruct.Mode = GPIO_MODE_OUTPUT_PP;
  GPIO_InitStruct.Pull = GPIO_NOPULL;
  GPIO_InitStruct.Speed = GPIO_SPEED_FREQ_LOW;
  HAL_GPIO_Init(ACP_RST_GPIO_Port, &GPIO_InitStruct);

  /*Configure GPIO pin : OTG_FS_OC_Pin */
  GPIO_InitStruct.Pin = OTG_FS_OC_Pin;
  GPIO_InitStruct.Mode = GPIO_MODE_EVT_RISING;
  GPIO_InitStruct.Pull = GPIO_NOPULL;
  HAL_GPIO_Init(OTG_FS_OC_GPIO_Port, &GPIO_InitStruct);

  /*Configure GPIO pins : R3_Pin R6_Pin */
  GPIO_InitStruct.Pin = R3_Pin|R6_Pin;
  GPIO_InitStruct.Mode = GPIO_MODE_AF_PP;
  GPIO_InitStruct.Pull = GPIO_NOPULL;
  GPIO_InitStruct.Speed = GPIO_SPEED_FREQ_LOW;
  GPIO_InitStruct.Alternate = GPIO_AF9_LTDC;
  HAL_GPIO_Init(GPIOB, &GPIO_InitStruct);

  /*Configure GPIO pin : BOOT1_Pin */
  GPIO_InitStruct.Pin = BOOT1_Pin;
  GPIO_InitStruct.Mode = GPIO_MODE_INPUT;
  GPIO_InitStruct.Pull = GPIO_NOPULL;
  HAL_GPIO_Init(BOOT1_GPIO_Port, &GPIO_InitStruct);

  /*Configure GPIO pins : A10_Pin A11_Pin BA0_Pin BA1_Pin
                           SDCLK_Pin SDNCAS_Pin */
  GPIO_InitStruct.Pin = A10_Pin|A11_Pin|BA0_Pin|BA1_Pin
                          |SDCLK_Pin|SDNCAS_Pin;
  GPIO_InitStruct.Mode = GPIO_MODE_AF_PP;
  GPIO_InitStruct.Pull = GPIO_NOPULL;
  GPIO_InitStruct.Speed = GPIO_SPEED_FREQ_VERY_HIGH;
  GPIO_InitStruct.Alternate = GPIO_AF12_FMC;
  HAL_GPIO_Init(GPIOG, &GPIO_InitStruct);

  /*Configure GPIO pins : D4_Pin D5_Pin D6_Pin D7_Pin
                           D8_Pin D9_Pin D10_Pin D11_Pin
                           D12_Pin NBL0_Pin NBL1_Pin */
  GPIO_InitStruct.Pin = D4_Pin|D5_Pin|D6_Pin|D7_Pin
                          |D8_Pin|D9_Pin|D10_Pin|D11_Pin
                          |D12_Pin|NBL0_Pin|NBL1_Pin;
  GPIO_InitStruct.Mode = GPIO_MODE_AF_PP;
  GPIO_InitStruct.Pull = GPIO_NOPULL;
  GPIO_InitStruct.Speed = GPIO_SPEED_FREQ_VERY_HIGH;
  GPIO_InitStruct.Alternate = GPIO_AF12_FMC;
  HAL_GPIO_Init(GPIOE, &GPIO_InitStruct);

  /*Configure GPIO pins : G4_Pin G5_Pin B6_Pin B7_Pin */
  GPIO_InitStruct.Pin = G4_Pin|G5_Pin|B6_Pin|B7_Pin;
  GPIO_InitStruct.Mode = GPIO_MODE_AF_PP;
  GPIO_InitStruct.Pull = GPIO_NOPULL;
  GPIO_InitStruct.Speed = GPIO_SPEED_FREQ_LOW;
  GPIO_InitStruct.Alternate = GPIO_AF14_LTDC;
  HAL_GPIO_Init(GPIOB, &GPIO_InitStruct);

  /*Configure GPIO pins : OTG_HS_ID_Pin OTG_HS_DM_Pin OTG_HS_DP_Pin */
  GPIO_InitStruct.Pin = OTG_HS_ID_Pin|OTG_HS_DM_Pin|OTG_HS_DP_Pin;
  GPIO_InitStruct.Mode = GPIO_MODE_AF_PP;
  GPIO_InitStruct.Pull = GPIO_NOPULL;
  GPIO_InitStruct.Speed = GPIO_SPEED_FREQ_LOW;
  GPIO_InitStruct.Alternate = GPIO_AF12_OTG_HS_FS;
  HAL_GPIO_Init(GPIOB, &GPIO_InitStruct);

  /*Configure GPIO pin : VBUS_HS_Pin */
  GPIO_InitStruct.Pin = VBUS_HS_Pin;
  GPIO_InitStruct.Mode = GPIO_MODE_INPUT;
  GPIO_InitStruct.Pull = GPIO_NOPULL;
  HAL_GPIO_Init(VBUS_HS_GPIO_Port, &GPIO_InitStruct);

  /*Configure GPIO pins : D13_Pin D14_Pin D15_Pin D0_Pin
                           D1_Pin D2_Pin D3_Pin */
  GPIO_InitStruct.Pin = D13_Pin|D14_Pin|D15_Pin|D0_Pin
                          |D1_Pin|D2_Pin|D3_Pin;
  GPIO_InitStruct.Mode = GPIO_MODE_AF_PP;
  GPIO_InitStruct.Pull = GPIO_NOPULL;
  GPIO_InitStruct.Speed = GPIO_SPEED_FREQ_VERY_HIGH;
  GPIO_InitStruct.Alternate = GPIO_AF12_FMC;
  HAL_GPIO_Init(GPIOD, &GPIO_InitStruct);

  /*Configure GPIO pin : TE_Pin */
  GPIO_InitStruct.Pin = TE_Pin;
  GPIO_InitStruct.Mode = GPIO_MODE_INPUT;
  GPIO_InitStruct.Pull = GPIO_NOPULL;
  HAL_GPIO_Init(TE_GPIO_Port, &GPIO_InitStruct);

  /*Configure GPIO pins : RDX_Pin WRX_DCX_Pin */
  GPIO_InitStruct.Pin = RDX_Pin|WRX_DCX_Pin;
  GPIO_InitStruct.Mode = GPIO_MODE_OUTPUT_PP;
  GPIO_InitStruct.Pull = GPIO_NOPULL;
  GPIO_InitStruct.Speed = GPIO_SPEED_FREQ_LOW;
  HAL_GPIO_Init(GPIOD, &GPIO_InitStruct);

  /*Configure GPIO pins : R7_Pin DOTCLK_Pin B3_Pin */
  GPIO_InitStruct.Pin = R7_Pin|DOTCLK_Pin|B3_Pin;
  GPIO_InitStruct.Mode = GPIO_MODE_AF_PP;
  GPIO_InitStruct.Pull = GPIO_NOPULL;
  GPIO_InitStruct.Speed = GPIO_SPEED_FREQ_LOW;
  GPIO_InitStruct.Alternate = GPIO_AF14_LTDC;
  HAL_GPIO_Init(GPIOG, &GPIO_InitStruct);

  /*Configure GPIO pins : HSYNC_Pin G6_Pin R2_Pin */
  GPIO_InitStruct.Pin = HSYNC_Pin|G6_Pin|R2_Pin;
  GPIO_InitStruct.Mode = GPIO_MODE_AF_PP;
  GPIO_InitStruct.Pull = GPIO_NOPULL;
  GPIO_InitStruct.Speed = GPIO_SPEED_FREQ_LOW;
  GPIO_InitStruct.Alternate = GPIO_AF14_LTDC;
  HAL_GPIO_Init(GPIOC, &GPIO_InitStruct);

  /*Configure GPIO pin : I2C3_SDA_Pin */
  GPIO_InitStruct.Pin = I2C3_SDA_Pin;
  GPIO_InitStruct.Mode = GPIO_MODE_AF_OD;
  GPIO_InitStruct.Pull = GPIO_NOPULL;
  GPIO_InitStruct.Speed = GPIO_SPEED_FREQ_LOW;
  GPIO_InitStruct.Alternate = GPIO_AF4_I2C3;
  HAL_GPIO_Init(I2C3_SDA_GPIO_Port, &GPIO_InitStruct);

  /*Configure GPIO pin : I2C3_SCL_Pin */
  GPIO_InitStruct.Pin = I2C3_SCL_Pin;
  GPIO_InitStruct.Mode = GPIO_MODE_AF_OD;
  GPIO_InitStruct.Pull = GPIO_NOPULL;
  GPIO_InitStruct.Speed = GPIO_SPEED_FREQ_LOW;
  GPIO_InitStruct.Alternate = GPIO_AF4_I2C3;
  HAL_GPIO_Init(I2C3_SCL_GPIO_Port, &GPIO_InitStruct);

  /*Configure GPIO pins : G7_Pin B2_Pin */
  GPIO_InitStruct.Pin = G7_Pin|B2_Pin;
  GPIO_InitStruct.Mode = GPIO_MODE_AF_PP;
  GPIO_InitStruct.Pull = GPIO_NOPULL;
  GPIO_InitStruct.Speed = GPIO_SPEED_FREQ_LOW;
  GPIO_InitStruct.Alternate = GPIO_AF14_LTDC;
  HAL_GPIO_Init(GPIOD, &GPIO_InitStruct);

  /*Configure GPIO pins : G3_Pin B4_Pin */
  GPIO_InitStruct.Pin = G3_Pin|B4_Pin;
  GPIO_InitStruct.Mode = GPIO_MODE_AF_PP;
  GPIO_InitStruct.Pull = GPIO_NOPULL;
  GPIO_InitStruct.Speed = GPIO_SPEED_FREQ_LOW;
  GPIO_InitStruct.Alternate = GPIO_AF9_LTDC;
  HAL_GPIO_Init(GPIOG, &GPIO_InitStruct);

  /*Configure GPIO pins : LD3_Pin LD4_Pin */
  GPIO_InitStruct.Pin = LD3_Pin|LD4_Pin;
  GPIO_InitStruct.Mode = GPIO_MODE_OUTPUT_PP;
  GPIO_InitStruct.Pull = GPIO_NOPULL;
  GPIO_InitStruct.Speed = GPIO_SPEED_FREQ_LOW;
  HAL_GPIO_Init(GPIOG, &GPIO_InitStruct);

  /*Configure GPIO pins : SDCKE1_Pin SDNE1_Pin */
  GPIO_InitStruct.Pin = SDCKE1_Pin|SDNE1_Pin;
  GPIO_InitStruct.Mode = GPIO_MODE_AF_PP;
  GPIO_InitStruct.Pull = GPIO_NOPULL;
  GPIO_InitStruct.Speed = GPIO_SPEED_FREQ_VERY_HIGH;
  GPIO_InitStruct.Alternate = GPIO_AF12_FMC;
  HAL_GPIO_Init(GPIOB, &GPIO_InitStruct);

}

/* USER CODE BEGIN 4 */
void HAL_UARTEx_RxEventCallback(UART_HandleTypeDef *huart, uint16_t Size)
{
    if (huart->Instance == UART5)
    {
        memcpy(proc_buf, dma_buf, Size);
        proc_len = Size;

        // signal gpsTask that a sentence is ready
        osSemaphoreRelease(gpsSemaphoreHandle);

        HAL_UARTEx_ReceiveToIdle_DMA(&huart5, dma_buf, DMA_BUF_SIZE);
        __HAL_DMA_DISABLE_IT(huart5.hdmarx, DMA_IT_HT);
    }
}

/* USER CODE END 4 */

void StartGpsTask(void *argument)
{
	/* USER CODE BEGIN 5 */
    GPS_Data_t gps_data;

    for(;;)
    {
    	// wait for the DMA callback to signal that a sentence is ready
    	osSemaphoreAcquire(gpsSemaphoreHandle, osWaitForever);

    	// find $GNRMC or $GPRMC line in the buffer
    	char *line = strstr((char*)proc_buf, "$GNRMC");
    	if (!line) line = strstr((char*)proc_buf, "$GPRMC");

    	if (line)
    	{
    	    char *end = strstr(line, "\r\n");
    	    if (end) *end = '\0';

    	    // verify line is complete — must contain '*' followed by 2 checksum chars
    	    char *star = strchr(line, '*');
    	    if (star && strlen(star) >= 3)
    	    {
    	        if (nmea_parse(line, &gps_data))
    	        {
    	            osMessageQueuePut(gpsQueueHandle, &gps_data, 0, 0);
    	        }
    	    }
    	    // else: silently drop incomplete sentence, next callback will have the rest
    	}
    }
  /* USER CODE END 5 */
}

void StartLoggerTask(void *argument)
{
	/* USER CODE BEGIN StartLoggerTask */
	GPS_Data_t gps_data;

	for(;;)
	{

		// block until gpsTask puts a parsed fix on the queue
		if (osMessageQueueGet(gpsQueueHandle, &gps_data, NULL, 0) == osOK)
		{
			printf("UTC: %s  Lat: %.6f  Lon: %.6f  Speed: %.2f kts\r\n",
					gps_data.time_utc,
					gps_data.latitude,
					gps_data.longitude,
					gps_data.speed_knots);
			//osDelay(10);
		}
	}
  /* USER CODE END StartLoggerTask */
}

void StartLcdTask(void *argument)
{
  for(;;)
  {
    osDelay(1);
  }
}

void HAL_TIM_PeriodElapsedCallback(TIM_HandleTypeDef *htim)
{
  if (htim->Instance == TIM1)
  {
    HAL_IncTick();
  }
}

void Error_Handler(void)
{
  __disable_irq();
  while (1)
  {
  }
}
